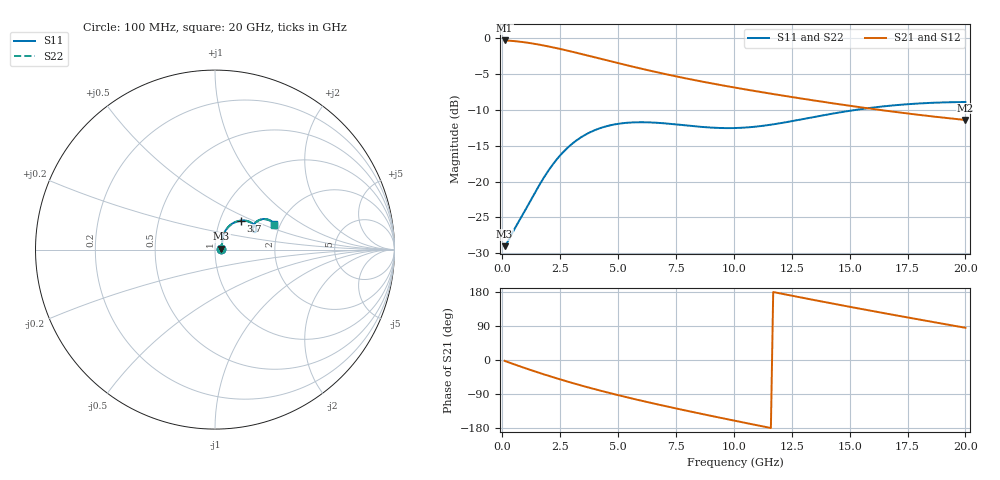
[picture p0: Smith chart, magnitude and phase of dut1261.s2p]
! Touchstone file exported from HFSS 2024.1.0
!  File:  C:/UserFiles/LocalFiles/RDL_TSV_Batchsim/temp_RDL_TSV_1261_1780272447.aedt
!  Generated:  08:24:46 AM Jun  1, 2026
!  Design:  RDL_TSV
!  Project:  temp_RDL_TSV_1261_1780272447
!  Setup:  Setup1
!  Solution:  Sweep
! Variables:
!  dtsv = 11.51um
!  hbump = 3um
!  htsv = 67.56um
!  ldown = 656.83um
!  lrdl = 541.39um
!  p = 40
!  p1 = 40.32um
!  rhole = 10um
!  subl = 4136.05um
!  t = 450um
!  tdown = 3.05um
!  trdl = 2.13um
!  viad = 10um
!  wdown = 15.07um
!  wrdl = 17.38um
!  xbump = 18um
# GHz S MA R 50.000000
! Terminal data exported
! Port[1] = TM1_1_T1
! Port[2] = TM1_4_T1
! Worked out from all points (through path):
!   200 points, 100 MHz to 20 GHz, reference 50 ohm
!   highest |S21| = -0.31 dB at 100 MHz (marker M1); lowest = -11.4 dB at 20 GHz (marker M2)
!   group delay of S21, straight-line fit = 36.5 ps
!   lowest |S11| = -29.0 dB at 100 MHz (marker M3), VSWR 1.07, Z = 53.6 + j0.602 ohm
!   |S11| at or under -10 dB: start of sweep to 15.25 GHz
!   |S22| runs from -29.0 to -9.0 dB; largest |S21 - S12| = 1e-14
!   S11 on the Smith chart (normalised r, x): 100 MHz: 1.07, +0.01; 3.7 GHz: 1.26, +0.43; 20 GHz: 1.86, +0.60
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0.1  0.03546 9.1  0.9647 -2.3  0.9647 -2.3  0.03546 9.1
! Gamma 0 0 0 0
! Port Impedance 50 0 50 0
0.5  0.04587 33.7  0.9553 -11.1  0.9553 -11.1  0.04589 33.7
0.9  0.05956 47.4  0.9395 -19.7  0.9395 -19.7  0.05958 47.3
1.4  0.0831 57.8  0.9135 -30.0  0.9135 -30.0  0.08305 57.7
1.8  0.107 60.9  0.8891 -37.9  0.8891 -37.9  0.1068 60.7
2.6  0.1588 58.4  0.8346 -53.0  0.8346 -53.0  0.1583 58.2
3  0.1827 55.1  0.8061 -60.2  0.8061 -60.2  0.1821 54.8
3.5  0.2084 50.2  0.7705 -68.8  0.7705 -68.8  0.2076 50.0
3.7  0.2172 48.2  0.7565 -72.2  0.7565 -72.2  0.2163 48.0
4.4  0.2408 41.5  0.7088 -83.5  0.7088 -83.5  0.2397 41.2
5.2  0.2554 34.7  0.6585 -95.7  0.6585 -95.7  0.2541 34.4
6  0.2595 29.3  0.6133 -107.3  0.6133 -107.3  0.2579 29.1
6.8  0.2565 25.7  0.5732 -118.4  0.5732 -118.4  0.2547 25.4
7.6  0.2497 23.7  0.5379 -129.1  0.5379 -129.1  0.2478 23.5
8.4  0.2424 23.4  0.5067 -139.6  0.5067 -139.6  0.2404 23.3
10.1  0.2365 27.1  0.4509 -161.0  0.4509 -161.0  0.2346 27.1
11.6  0.2494 31.6  0.4104 -179.5  0.4104 -179.5  0.2475 31.6
13.4  0.281 34.0  0.3693 159.0  0.3693 159.0  0.2791 33.9
15  0.3118 32.9  0.3382 140.4  0.3382 140.4  0.3097 32.9
16.7  0.3378 29.9  0.3102 121.2  0.3102 121.2  0.3355 29.9
18.3  0.3529 26.5  0.2882 103.5  0.2882 103.5  0.3502 26.5
20  0.3591 23.1  0.2692 85.0  0.2692 85.0  0.356 23.1
